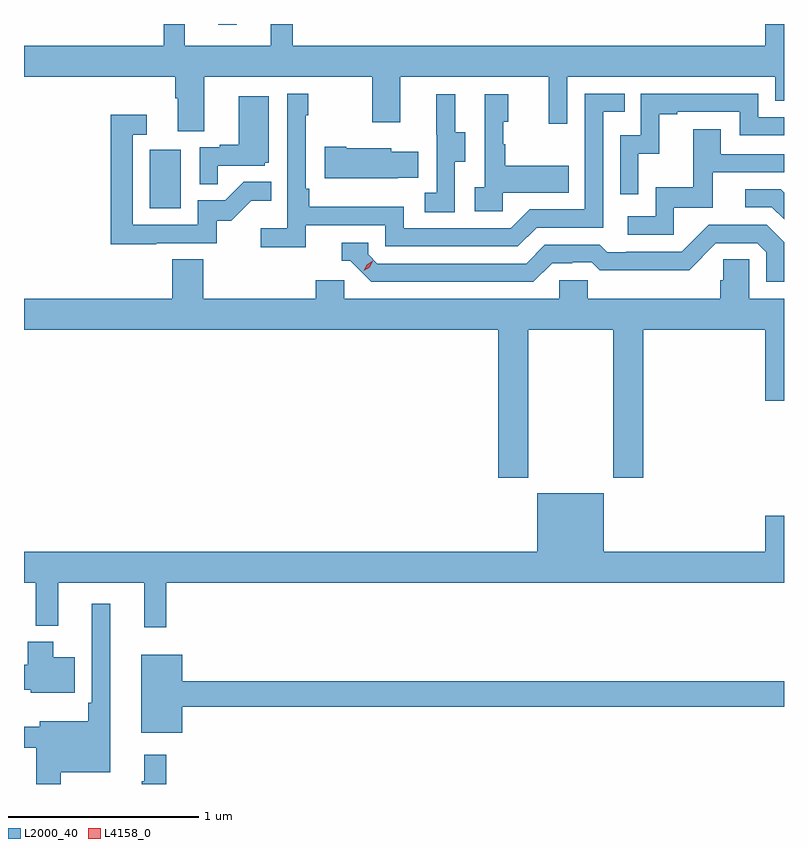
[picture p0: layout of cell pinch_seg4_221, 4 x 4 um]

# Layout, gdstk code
import gdstk
lib = gdstk.Library(unit=1e-6, precision=1e-09)
def R(c, l, rs):  # rectangles x0, y0, x1, y1
    for r in rs: c.add(gdstk.rectangle(r[:2], r[2:], *l))
def P(c, l, *ps):  # polygons
    for p in ps: c.add(gdstk.Polygon(p, *l))
L2000_40 = (2000, 40)
L4158_0 = (4158, 0)

pinch_seg4_221 = lib.new_cell('pinch_seg4_221')
R(pinch_seg4_221, L2000_40, [(1012.916,818.772,1013.08,819.079), (1013.277,819.738,1013.374,819.742)])
P(pinch_seg4_221, L2000_40, [(1013.203,819.464),(1014.088,819.464),(1014.088,819.225),(1014.235,819.225),(1014.235,819.464),(1015.016,819.464),(1015.016,819.216),(1015.113,819.216),(1015.113,819.464),(1016.208,819.464),(1016.208,819.337),(1016.254,819.337),(1016.254,819.742),(1016.156,819.742),(1016.156,819.628),(1013.669,819.628),(1013.669,819.742),(1013.552,819.742),(1013.552,819.628),(1013.099,819.628),(1013.099,819.742),(1012.99,819.742),(1012.99,819.628),(1012.254,819.628),(1012.254,819.464),(1013.051,819.464),(1013.051,819.352),(1013.063,819.352),(1013.063,819.178),(1013.203,819.178)],
  [(1013.738,818.682),(1014.156,818.682),(1014.156,818.571),(1014.853,818.571),(1014.952,818.67),(1015.302,818.67),(1015.302,819.279),(1015.415,819.279),(1015.415,819.375),(1015.206,819.375),(1015.206,818.766),(1014.915,818.766),(1014.816,818.667),(1014.252,818.667),(1014.252,818.779),(1013.756,818.779),(1013.756,818.875),(1013.736,818.875),(1013.736,819.263),(1013.749,819.263),(1013.749,819.376),(1013.64,819.376),(1013.64,818.668),(1013.499,818.668),(1013.499,818.566),(1013.738,818.566)],
  [(1015.488,819.059),(1015.598,819.059),(1015.598,819.267),(1015.693,819.267),(1015.693,819.279),(1016.022,819.279),(1016.022,819.156),(1016.254,819.156),(1016.254,819.252),(1016.118,819.252),(1016.118,819.375),(1015.5,819.375),(1015.5,819.156),(1015.392,819.156),(1015.392,818.847),(1015.488,818.847)],
  [(1014.774,818.855),(1015.121,818.855),(1015.121,818.995),(1014.787,818.995),(1014.787,819.11),(1014.777,819.11),(1014.777,819.228),(1014.802,819.228),(1014.802,819.373),(1014.678,819.373),(1014.678,818.882),(1014.627,818.882),(1014.627,818.757),(1014.774,818.757)],
  [(1014.522,819.016),(1014.577,819.016),(1014.577,819.171),(1014.523,819.171),(1014.523,819.373),(1014.425,819.373),(1014.425,819.159),(1014.426,819.159),(1014.426,818.855),(1014.363,818.855),(1014.363,818.752),(1014.522,818.752)],
  [(1013.273,818.997),(1013.52,818.997),(1013.52,819.012),(1013.542,819.012),(1013.542,819.361),(1013.384,819.361),(1013.384,819.106),(1013.285,819.106),(1013.285,819.093),(1013.178,819.093),(1013.178,818.899),(1013.273,818.899)],
  [(1012.949,818.589),(1013.268,818.589),(1013.268,818.706),(1013.344,818.706),(1013.451,818.813),(1013.555,818.813),(1013.555,818.912),(1013.411,818.912),(1013.313,818.814),(1013.169,818.814),(1013.169,818.685),(1012.827,818.685),(1012.827,819.159),(1012.9,819.159),(1012.9,819.265),(1012.711,819.265),(1012.711,818.584),(1012.949,818.584)],
  [(1015.674,818.775),(1015.879,818.775),(1015.879,818.961),(1016.254,818.961),(1016.254,819.057),(1015.921,819.057),(1015.921,819.187),(1015.777,819.187),(1015.777,818.884),(1015.578,818.884),(1015.578,818.73),(1015.431,818.73),(1015.431,818.634),(1015.674,818.634)],
  [(1014.221,818.933),(1014.329,818.933),(1014.329,819.07),(1014.186,819.07),(1014.186,819.088),(1013.95,819.088),(1013.95,819.096),(1013.838,819.096),(1013.838,818.93),(1014.221,818.93)],
  [(1016.254,818.853),(1016.236,818.871),(1016.049,818.871),(1016.049,818.778),(1016.19,818.778),(1016.254,818.714)],
  [(1015.033,818.484),(1015.14,818.484),(1015.14,818.487),(1015.243,818.487),(1015.285,818.445),(1015.518,818.445),(1015.518,818.447),(1015.754,818.447),(1015.896,818.589),(1016.112,818.589),(1016.16,818.541),(1016.16,818.385),(1016.254,818.385),(1016.254,818.594),(1016.163,818.685),(1015.857,818.685),(1015.716,818.544),(1015.423,818.544),(1015.423,818.541),(1015.324,818.541),(1015.285,818.58),(1014.996,818.58),(1014.897,818.481),(1014.114,818.481),(1014.066,818.529),(1014.066,818.592),(1013.927,818.592),(1013.927,818.496),(1013.97,818.496),(1014.081,818.385),(1014.934,818.385)],
  [(1014.909,818.132),(1015.354,818.132),(1015.354,817.353),(1015.514,817.353),(1015.514,818.132),(1016.156,818.132),(1016.156,817.758),(1016.254,817.758),(1016.254,818.296),(1016.07,818.296),(1016.07,818.504),(1015.933,818.504),(1015.933,818.394),(1015.919,818.394),(1015.919,818.296),(1015.221,818.296),(1015.221,818.394),(1015.071,818.394),(1015.071,818.296),(1013.94,818.296),(1013.94,818.394),(1013.789,818.394),(1013.789,818.296),(1013.198,818.296),(1013.198,818.504),(1013.033,818.504),(1013.033,818.296),(1012.254,818.296),(1012.254,818.132),(1014.749,818.132),(1014.749,817.353),(1014.909,817.353)],
  [(1013.003,816.8),(1016.254,816.8),(1016.254,817.153),(1016.156,817.153),(1016.156,816.964),(1015.306,816.964),(1015.306,817.273),(1014.956,817.273),(1014.956,816.964),(1012.254,816.964),(1012.254,816.8),(1012.315,816.8),(1012.315,816.575),(1012.433,816.575),(1012.433,816.8),(1012.886,816.8),(1012.886,816.567),(1013.003,816.567)],
  [(1012.447,815.804),(1012.708,815.804),(1012.708,816.691),(1012.611,816.691),(1012.611,816.169),(1012.591,816.169),(1012.591,816.073),(1012.337,816.073),(1012.337,816.044),(1012.254,816.044),(1012.254,815.934),(1012.318,815.934),(1012.318,815.742),(1012.447,815.742)],
  [(1012.522,816.409),(1012.408,816.409),(1012.408,816.49),(1012.274,816.49),(1012.274,816.369),(1012.254,816.369),(1012.254,816.239),(1012.29,816.239),(1012.29,816.221),(1012.522,816.221)],
  [(1013.086,816.148),(1016.254,816.148),(1016.254,816.284),(1013.086,816.284),(1013.086,816.421),(1012.871,816.421),(1012.871,816.011),(1013.086,816.011)],
  [(1013.003,815.896),(1012.886,815.896),(1012.886,815.756),(1012.875,815.756),(1012.875,815.742),(1013.003,815.742)])
P(pinch_seg4_221, L4158_0, [(1014.042,818.444),(1014.042,818.444),(1014.058,818.476),(1014.089,818.496),(1014.089,818.496),(1014.089,818.496),(1014.073,818.463),(1014.042,818.444)])

lib.write_gds('pinch_seg4_221.gds')
